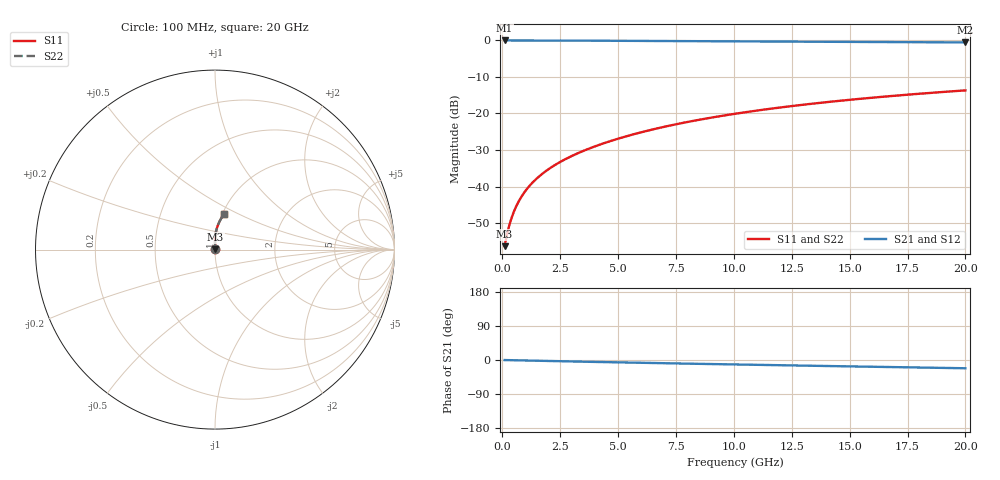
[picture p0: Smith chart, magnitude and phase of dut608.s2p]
! Touchstone file exported from HFSS 2024.1.0
!  File:  C:/UserFiles/LocalFiles/RDL_TSV_Batchsim/temp_RDL_top_608_1779779710.aedt
!  Generated:  03:17:24 PM May 26, 2026
!  Design:  RDL_top
!  Project:  temp_RDL_top_608_1779779710
!  Setup:  Setup1
!  Solution:  Sweep
! Variables:
!  dtsv = 10.80580581um
!  hbump = 3um
!  htsv = 53.43um
!  ldown = 100um
!  lrdl = 311.1um
!  p = 40
!  p1 = 46.87um
!  rhole = 1um
!  t = 450um
!  tdown = 3.915915916um
!  trdl = 4.62um
!  wdown = 15.38538539um
!  wrdl = 23.74um
# GHz S MA R 50.000000
! Terminal data exported
! Port[1] = Box2_T1
! Port[2] = Box2_T2
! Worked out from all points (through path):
!   200 points, 100 MHz to 20 GHz, reference 50 ohm
!   highest |S21| = -0.01 dB at 100 MHz (marker M1); lowest = -0.5 dB at 20 GHz (marker M2)
!   group delay of S21, straight-line fit = 2.99 ps
!   lowest |S11| = -56.3 dB at 100 MHz (marker M3), VSWR 1.00, Z = 50.1 + j0.0962 ohm
!   |S11| at or under -10 dB: start of sweep to end of sweep
!   |S22| runs from -56.3 to -13.7 dB; largest |S21 - S12| = 5e-15
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0.1  0.001525 39.0  0.9988 -0.1  0.9988 -0.1  0.001525 39.0
! Gamma 0 0 0 0
! Port Impedance 50 0 50 0
0.2  0.002185 55.4  0.9987 -0.3  0.9987 -0.3  0.002183 55.4
0.3  0.002924 64.5  0.9986 -0.4  0.9986 -0.4  0.002923 64.6
0.4  0.003711 70.1  0.9985 -0.5  0.9985 -0.5  0.00371 70.2
0.5  0.004522 73.8  0.9984 -0.7  0.9984 -0.7  0.004522 73.8
0.6  0.005348 76.4  0.9983 -0.8  0.9983 -0.8  0.005348 76.4
0.8  0.007023 79.8  0.9982 -1.0  0.9982 -1.0  0.007024 79.8
1.1  0.009564 82.7  0.9979 -1.4  0.9979 -1.4  0.009566 82.7
1.5  0.01298 84.9  0.9973 -2.0  0.9973 -2.0  0.01298 84.9
1.8  0.01556 86.0  0.9968 -2.3  0.9968 -2.3  0.01557 86.0
2.1  0.01817 86.9  0.9963 -2.7  0.9963 -2.7  0.01817 86.9
2.7  0.02346 88.1  0.9949 -3.5  0.9949 -3.5  0.02346 88.1
3.5  0.03074 89.2  0.9928 -4.5  0.9928 -4.5  0.03074 89.2
4.2  0.03733 89.8  0.9907 -5.3  0.9907 -5.3  0.03734 89.8
5  0.04514 90.1  0.9881 -6.2  0.9881 -6.2  0.04515 90.1
6.8  0.06363 89.7  0.9819 -8.3  0.9819 -8.3  0.06365 89.7
8.4  0.08085 88.7  0.9763 -10.0  0.9763 -10.0  0.08088 88.7
10.1  0.09959 87.0  0.9705 -11.8  0.9705 -11.8  0.09962 87.1
11.7  0.1174 85.3  0.9653 -13.5  0.9653 -13.5  0.1174 85.3
13.4  0.1362 83.3  0.9598 -15.2  0.9598 -15.2  0.1363 83.3
16.7  0.1722 79.3  0.9493 -18.6  0.9493 -18.6  0.1723 79.4
20  0.207 75.4  0.9388 -21.8  0.9388 -21.8  0.2071 75.4
